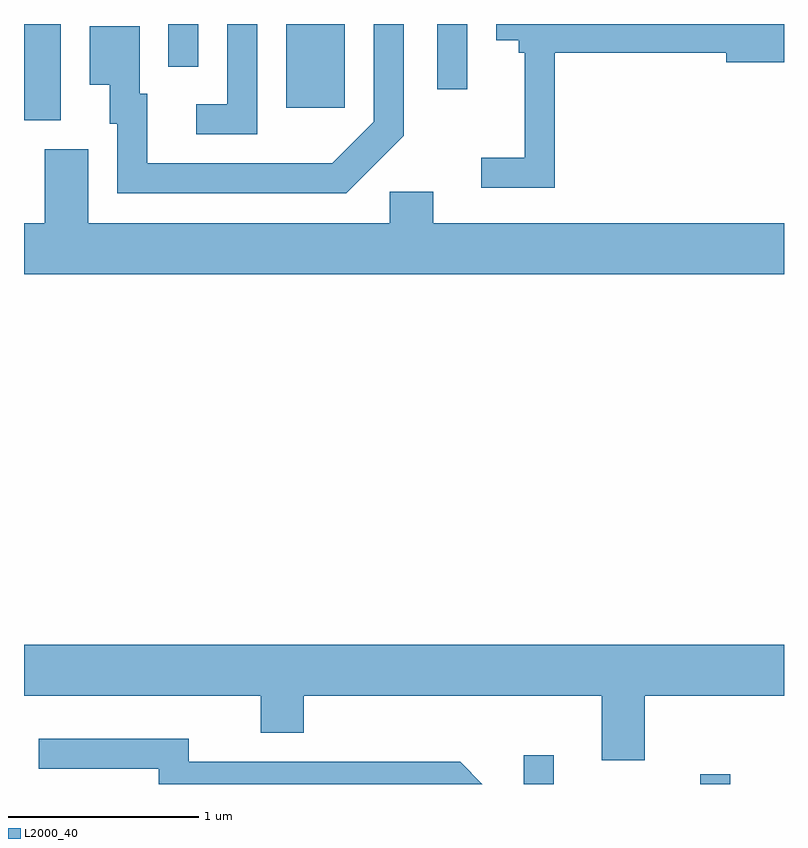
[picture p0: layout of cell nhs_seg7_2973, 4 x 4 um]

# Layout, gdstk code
import gdstk
lib = gdstk.Library(unit=1e-6, precision=1e-09)
def R(c, l, rs):  # rectangles x0, y0, x1, y1
    for r in rs: c.add(gdstk.rectangle(r[:2], r[2:], *l))
def P(c, l, *ps):  # polygons
    for p in ps: c.add(gdstk.Polygon(p, *l))
L2000_40 = (2000, 40)

nhs_seg7_2973 = lib.new_cell('nhs_seg7_2973')
R(nhs_seg7_2973, L2000_40, [(278.241,1758.252,278.399,1758.403), (279.171,1758.252,279.329,1758.303), (275.611,1761.746,275.804,1762.252), (276.991,1761.811,277.299,1762.252), (277.786,1761.908,277.944,1762.252), (276.371,1762.028,276.529,1762.252)])
P(nhs_seg7_2973, L2000_40, [(278.404,1762.101),(279.306,1762.101),(279.306,1762.051),(279.611,1762.051),(279.611,1762.252),(278.096,1762.252),(278.096,1762.166),(278.216,1762.166),(278.216,1762.101),(278.246,1762.101),(278.246,1761.549),(278.018,1761.549),(278.018,1761.391),(278.404,1761.391)],
  [(276.839,1762.252),(276.681,1762.252),(276.681,1761.829),(276.518,1761.829),(276.518,1761.671),(276.839,1761.671)],
  [(277.609,1761.664),(277.609,1762.252),(277.451,1762.252),(277.451,1761.737),(277.234,1761.519),(276.259,1761.519),(276.259,1761.884),(276.219,1761.884),(276.219,1762.239),(275.956,1762.239),(275.956,1761.931),(276.061,1761.931),(276.061,1761.726),(276.101,1761.726),(276.101,1761.361),(277.307,1761.361)],
  [(279.611,1761.204),(277.764,1761.204),(277.764,1761.369),(277.536,1761.369),(277.536,1761.204),(275.949,1761.204),(275.949,1761.594),(275.721,1761.594),(275.721,1761.204),(275.611,1761.204),(275.611,1760.936),(279.611,1760.936)],
  [(278.879,1758.716),(279.611,1758.716),(279.611,1758.984),(275.611,1758.984),(275.611,1758.716),(276.856,1758.716),(276.856,1758.521),(277.084,1758.521),(277.084,1758.716),(278.651,1758.716),(278.651,1758.376),(278.879,1758.376)],
  [(277.907,1758.369),(276.479,1758.369),(276.479,1758.489),(275.688,1758.489),(275.688,1758.331),(276.321,1758.331),(276.321,1758.252),(278.024,1758.252)])

lib.write_gds('nhs_seg7_2973.gds')
